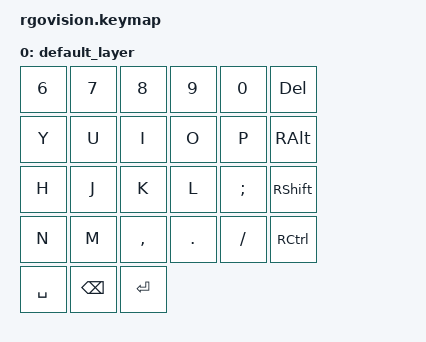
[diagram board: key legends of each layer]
/*
 * Copyright (c) 2020 ZMK Contributors
 *
 * SPDX-License-Identifier: MIT
 */

#include <behaviors.dtsi>
#include <dt-bindings/zmk/keys.h>
#include <dt-bindings/zmk/bt.h>
#include <dt-bindings/zmk/outputs.h>
#include <dt-bindings/zmk/mouse.h>
#include <behaviors/mouse_keys.dtsi>

#define DEF 0;
#define UPE 1;
#define MSC 2;


/ {
    keymap {
        compatible = "zmk,keymap";

        default_layer {
            bindings = <
                &kp N6     &kp N7     &kp N8     &kp N9     &kp N0     &kp DELETE
                &kp Y      &kp U      &kp I      &kp O      &kp P      &kp RALT
                &kp H      &kp J      &kp K      &kp L      &kp SEMI   &kp RSHIFT
                &kp N      &kp M      &kp COMMA  &kp DOT    &kp SLASH  &kp RCTRL
                &kp SPACE  &kp BSPC   &kp ENTER
            >;
        
        };
    };
};
